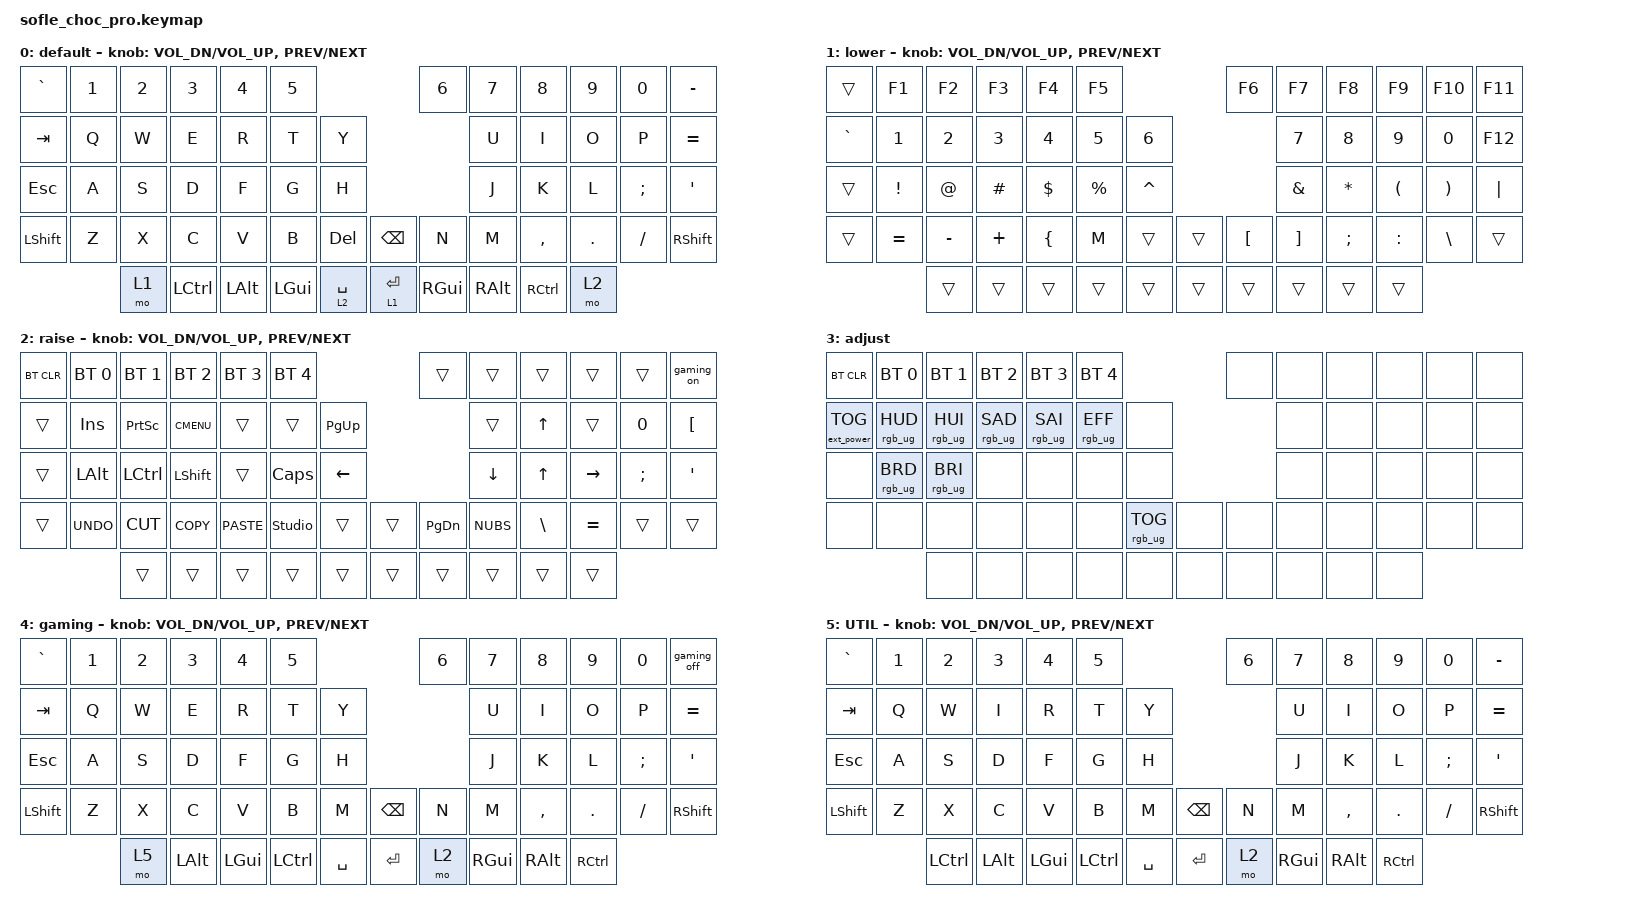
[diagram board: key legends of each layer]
/*
* Copyright (c) 2020 The ZMK Contributors
*
* SPDX-License-Identifier: MIT
*/

#include <behaviors.dtsi>
#include <dt-bindings/zmk/bt.h>
#include <dt-bindings/zmk/ext_power.h>
#include <dt-bindings/zmk/keys.h>
#include <dt-bindings/zmk/rgb.h>

#define BASE 0
#define LOWER 1
#define RAISE 2
#define ADJUST 3

/ {
    // Activate ADJUST layer by pressing raise and lower

    conditional_layers {
        compatible = "zmk,conditional-layers";

        adjust_layer {
            if-layers = <1 2>;
            then-layer = <3>;
        };
    };

    behaviors {
        mod_tap: mod_tap {
            compatible = "zmk,behavior-hold-tap";
            label = "MOD_TAP";
            bindings = <&none>, <&none>;

            #binding-cells = <2>;
            tapping-term-ms = <200>;
        };
    };

    macros {
        gaming_on: gaming_on {
            compatible = "zmk,behavior-macro";
            #binding-cells = <0>;
            bindings = <&to 4>;
            label = "GAMING_ON";
        };

        gaming_off: gaming_off {
            compatible = "zmk,behavior-macro";
            #binding-cells = <0>;
            bindings = <&to 0>;
            label = "GAMING_OFF";
        };
    };

    keymap {
        compatible = "zmk,keymap";

        default_layer {
            display-name = "default";

            // ------------------------------------------------------------------------------------------------------------
            // |   `   |  1  |  2  |  3   |  4   |  5   |                   |  6   |  7    |  8    |  9   |   0   |   `   |
            // |  ESC  |  Q  |  W  |  E   |  R   |  T   |                   |  Y   |  U    |  I    |  O   |   P   | BKSPC |
            // |  TAB  |  A  |  S  |  D   |  F   |  G   |                   |  H   |  J    |  K    |  L   |   ;   |   '   |
            // | SHIFT |  Z  |  X  |  C   |  V   |  B   |  MUTE  |  | PLAY  |  N   |  M    |  ,    |  .   |   /   | SHIFT |
            //               | GUI | ALT  | CTRL | LOWER|  ENTER |  | SPACE | RAISE| CTRL  | ALT   | GUI  |

            bindings = <
&kp GRAVE   &kp N1  &kp N2  &kp N3            &kp N4        &kp N5                                    &kp N6         &kp N7         &kp N8             &kp N9   &kp N0    &kp MINUS
&kp TAB     &kp Q   &kp W   &kp E             &kp R         &kp T         &kp Y                                      &kp U          &kp I              &kp O    &kp P     &kp EQUAL
&kp ESCAPE  &kp A   &kp S   &kp D             &kp F         &kp G         &kp H                                      &kp J          &kp K              &kp L    &kp SEMI  &kp SQT
&kp LSHFT   &kp Z   &kp X   &kp C             &kp V         &kp B         &kp DELETE   &kp BACKSPACE  &kp N          &kp M          &kp COMMA          &kp DOT  &kp FSLH  &kp RSHFT
                    &mo 1   &kp LEFT_CONTROL  &kp LEFT_ALT  &kp LEFT_GUI  &lt 2 SPACE  &lt 1 ENTER    &kp RIGHT_GUI  &kp RIGHT_ALT  &kp RIGHT_CONTROL  &mo 2
            >;

            sensor-bindings = <&inc_dec_kp C_VOL_DN C_VOL_UP &inc_dec_kp C_PREV C_NEXT>;
        };

        lower_layer {
            display-name = "lower";

            // ------------------------------------------------------------------------------------------------------------
            // |       |  F1 |  F2 |  F3  |  F4  |  F5  |                   |  F6  |  F7   |  F8   |  F9  |  F10  |  F11  |
            // |   `   |  1  |  2  |  3   |  4   |  5   |                   |  6   |  7    |  8    |  9   |   0   |  F12  |
            // |       |  !  |  @  |  #   |  $   |  %   |                   |  ^   |  &    |  *    |  (   |   )   |   |   |
            // |       |  =  |  -  |  +   |  {   |  }   |        |  |       |  [   |  ]    |  ;    |  :   |   \   |       |
            //               |     |      |      |      |        |  |       |      |       |       |      |

            bindings = <
&trans     &kp F1     &kp F2     &kp F3    &kp F4    &kp F5                        &kp F6    &kp F7    &kp F8     &kp F9     &kp F10   &kp F11
&kp GRAVE  &kp N1     &kp N2     &kp N3    &kp N4    &kp N5     &kp N6                       &kp N7    &kp N8     &kp N9     &kp N0    &kp F12
&trans     &kp EXCL   &kp AT     &kp HASH  &kp DLLR  &kp PRCNT  &kp CARET                    &kp AMPS  &kp ASTRK  &kp LPAR   &kp RPAR  &kp PIPE
&trans     &kp EQUAL  &kp MINUS  &kp PLUS  &kp LBRC  &kp M      &trans     &trans  &kp LBKT  &kp RBKT  &kp SEMI   &kp COLON  &kp BSLH  &trans
                      &trans     &trans    &trans    &trans     &trans     &trans  &trans    &trans    &trans     &trans
            >;

            sensor-bindings = <&inc_dec_kp C_VOL_DN C_VOL_UP &inc_dec_kp C_PREV C_NEXT>;
        };

        raise_layer {
            display-name = "raise";

            // ------------------------------------------------------------------------------------------------------------
            // | BTCLR | BT1  | BT2  |  BT3  |  BT4  |  BT5 |                |      |      |       |      |       |       |
            // |       | INS  | PSCR | GUI   |       |      |                | PGUP |      |   ^   |      |       |       |
            // |       | ALT  | CTRL | SHIFT |       | CAPS |                | PGDN |   <- |   v   |  ->  |  DEL  | BKSPC |
            // |       | UNDO | CUT  | COPY  | PASTE |      |      |  |      |      |      |       |      |       |       |
            //                |      |       |       |      |      |  |      |      |      |       |      |

            bindings = <
&bt BT_CLR  &bt BT_SEL 0  &bt BT_SEL 1  &bt BT_SEL 2  &bt BT_SEL 3  &bt BT_SEL 4                       &trans     &trans    &trans    &trans     &trans    &gaming_on
&trans      &kp INS       &kp PSCRN     &kp K_CMENU   &trans        &trans          &kp PG_UP                     &trans    &kp UP    &trans     &kp N0    &kp LBKT
&trans      &kp LALT      &kp LCTRL     &kp LSHFT     &trans        &kp CLCK        &kp LEFT                      &kp DOWN  &kp UP    &kp RIGHT  &kp SEMI  &kp SQT
&trans      &kp K_UNDO    &kp K_CUT     &kp K_COPY    &kp K_PASTE   &studio_unlock  &trans     &trans  &kp PG_DN  &kp NUBS  &kp BSLH  &kp EQUAL  &trans    &trans
                          &trans        &trans        &trans        &trans          &trans     &trans  &trans     &trans    &trans    &trans
            >;

            sensor-bindings = <&inc_dec_kp C_VOL_DN C_VOL_UP &inc_dec_kp C_PREV C_NEXT>;
        };

        adjust_layer {
            // ----------------------------------------------------------------------------------------------------------------------------
            // | BTCLR  |  BT1    |  BT2    |   BT3   |   BT4   |   BT5   |                  |      |      |       |      |       |       |
            // | EXTPWR | RGB_HUD | RGB_HUI | RGB_SAD | RGB_SAI | RGB_EFF |                  |      |      |       |      |       |       |
            // |        | RGB_BRD | RGB_BRI |         |         |         |                  |      |      |       |      |       |       |
            // |        |         |         |         |         |         | RGB_TOG | |      |      |      |       |      |       |       |
            //                    |         |         |         |         |         | |      |      |      |       |      |

            display-name = "adjust";
            bindings = <
&bt BT_CLR         &bt BT_SEL 0     &bt BT_SEL 1     &bt BT_SEL 2     &bt BT_SEL 3     &bt BT_SEL 4                             &none  &none  &none  &none  &none  &none
&ext_power EP_TOG  &rgb_ug RGB_HUD  &rgb_ug RGB_HUI  &rgb_ug RGB_SAD  &rgb_ug RGB_SAI  &rgb_ug RGB_EFF  &none                          &none  &none  &none  &none  &none
&none              &rgb_ug RGB_BRD  &rgb_ug RGB_BRI  &none            &none            &none            &none                          &none  &none  &none  &none  &none
&none              &none            &none            &none            &none            &none            &rgb_ug RGB_TOG  &none  &none  &none  &none  &none  &none  &none
                                    &none            &none            &none            &none            &none            &none  &none  &none  &none  &none
            >;
        };

        gaming {
            display-name = "gaming";
            bindings = <
&kp GRAVE   &kp N1  &kp N2  &kp N3    &kp N4        &kp N5                                      &kp N6  &kp N7         &kp N8     &kp N9             &kp N0    &gaming_off
&kp TAB     &kp Q   &kp W   &kp E     &kp R         &kp T             &kp Y                             &kp U          &kp I      &kp O              &kp P     &kp EQUAL
&kp ESCAPE  &kp A   &kp S   &kp D     &kp F         &kp G             &kp H                             &kp J          &kp K      &kp L              &kp SEMI  &kp SQT
&kp LSHFT   &kp Z   &kp X   &kp C     &kp V         &kp B             &kp M      &kp BACKSPACE  &kp N   &kp M          &kp COMMA  &kp DOT            &kp FSLH  &kp RSHFT
                    &mo 5   &kp LALT  &kp LEFT_GUI  &kp LEFT_CONTROL  &kp SPACE  &kp ENTER      &mo 2   &kp RIGHT_GUI  &kp RALT   &kp RIGHT_CONTROL
            >;

            sensor-bindings =
                <&inc_dec_kp C_VOL_DN C_VOL_UP>,
                <&inc_dec_kp C_PREV C_NEXT>;
        };

        GAME_UTIL {
            display-name = "UTIL";
            bindings = <
&kp GRAVE   &kp N1  &kp N2            &kp N3    &kp N4        &kp N5                                      &kp N6  &kp N7         &kp N8     &kp N9             &kp N0    &kp MINUS
&kp TAB     &kp Q   &kp W             &kp I     &kp R         &kp T             &kp Y                             &kp U          &kp I      &kp O              &kp P     &kp EQUAL
&kp ESCAPE  &kp A   &kp S             &kp D     &kp F         &kp G             &kp H                             &kp J          &kp K      &kp L              &kp SEMI  &kp SQT
&kp LSHFT   &kp Z   &kp X             &kp C     &kp V         &kp B             &kp M      &kp BACKSPACE  &kp N   &kp M          &kp COMMA  &kp DOT            &kp FSLH  &kp RSHFT
                    &kp LEFT_CONTROL  &kp LALT  &kp LEFT_GUI  &kp LEFT_CONTROL  &kp SPACE  &kp ENTER      &mo 2   &kp RIGHT_GUI  &kp RALT   &kp RIGHT_CONTROL
            >;

            sensor-bindings =
                <&inc_dec_kp C_VOL_DN C_VOL_UP>,
                <&inc_dec_kp C_PREV C_NEXT>;
        };
    };
};
